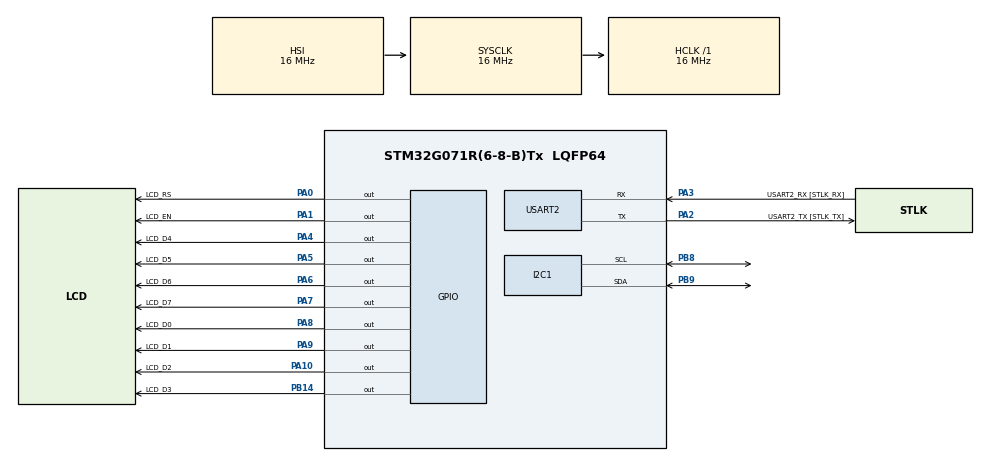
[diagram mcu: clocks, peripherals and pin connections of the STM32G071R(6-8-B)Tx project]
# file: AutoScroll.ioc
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Mcu.Family=STM32G0
Mcu.Name=STM32G071R(6-8-B)Tx
Mcu.Package=LQFP64
PA0.GPIO_Label=LCD_RS
PA0.Signal=GPIO_Output
PA1.GPIO_Label=LCD_EN
PA1.Signal=GPIO_Output
PA10.GPIO_Label=LCD_D2
PA10.Signal=GPIO_Output
PA13.GPIO_Label=TMS
PA13.Mode=Serial_Wire
PA13.Signal=SYS_SWDIO
PA14-BOOT0.GPIO_Label=TCK
PA14-BOOT0.Mode=Serial_Wire
PA14-BOOT0.Signal=SYS_SWCLK
PA2.GPIO_Label=USART2_TX [STLK_TX]
PA2.GPIO_PuPd=GPIO_PULLUP
PA2.Mode=Asynchronous
PA2.Signal=USART2_TX
PA3.GPIO_Label=USART2_RX [STLK_RX]
PA3.GPIO_PuPd=GPIO_PULLUP
PA3.Mode=Asynchronous
PA3.Signal=USART2_RX
PA4.GPIO_Label=LCD_D4
PA4.Signal=GPIO_Output
PA5.GPIO_Label=LCD_D5
PA5.GPIO_Speed=GPIO_SPEED_FREQ_HIGH
PA5.Signal=GPIO_Output
PA6.GPIO_Label=LCD_D6
PA6.Signal=GPIO_Output
PA7.GPIO_Label=LCD_D7
PA7.Signal=GPIO_Output
PA8.GPIO_Label=LCD_D0
PA8.Signal=GPIO_Output
PA9.GPIO_Label=LCD_D1
PA9.Signal=GPIO_Output
PB14.GPIO_Label=LCD_D3
PB14.Signal=GPIO_Output
PB8.Mode=I2C
PB8.Signal=I2C1_SCL
PB9.Mode=I2C
PB9.Signal=I2C1_SDA
PC13.Mode=SYS_WakeUp1
PC13.Signal=SYS_WKUP2
PC14-OSC32_IN\ (PC14).Mode=LSE-External-Oscillator
PC14-OSC32_IN\ (PC14).Signal=RCC_OSC32_IN
PC15-OSC32_OUT\ (PC15).Mode=LSE-External-Oscillator
PC15-OSC32_OUT\ (PC15).Signal=RCC_OSC32_OUT
PF0-OSC_IN\ (PF0).GPIO_Label=MCO
PF0-OSC_IN\ (PF0).Mode=HSE-External-Clock-Source
PF0-OSC_IN\ (PF0).Signal=RCC_OSC_IN
ProjectManager.HeapSize=0x200
ProjectManager.StackSize=0x400
ProjectManager.TargetToolchain=STM32CubeIDE
RCC.AHBFreq_Value=16000000
RCC.CortexFreq_Value=16000000
RCC.EXTERNAL_CLOCK_VALUE=12288000
RCC.HCLKFreq_Value=16000000
RCC.HSE_VALUE=8000000
RCC.HSI_VALUE=16000000
RCC.SYSCLKFreq_VALUE=16000000
RCC.VCOOutputFreq_Value=128000000
USART2.VirtualMode-Asynchronous=VM_ASYNC
board=NUCLEO-G071RB

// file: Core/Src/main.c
/* USER CODE BEGIN Header */
/**
  ******************************************************************************
  * @file           : main.c
  * @brief          : Main program body
  ******************************************************************************
  * @attention
  *
  * Copyright (c) 2023 STMicroelectronics.
  * All rights reserved.
  *
  * This software is licensed under terms that can be found in the LICENSE file
  * in the root directory of this software component.
  * If no LICENSE file comes with this software, it is provided AS-IS.
  *
  ******************************************************************************
  */
/* USER CODE END Header */
#include "main.h"

/* USER CODE BEGIN Includes */
#include "string.h"
#include "HD44780_LCD.h"
/* USER CODE END Includes */

I2C_HandleTypeDef hi2c1;

UART_HandleTypeDef huart2;

void SystemClock_Config(void);
static void MX_GPIO_Init(void);
static void MX_USART2_UART_Init(void);
static void MX_I2C1_Init(void);

int main(void)
{

  /* MCU Configuration--------------------------------------------------------*/

  /* Reset of all peripherals, Initializes the Flash interface and the Systick. */
  HAL_Init();

  /* Configure the system clock */
  SystemClock_Config();

  /* Initialize all configured peripherals */
  MX_GPIO_Init();
  MX_USART2_UART_Init();
  MX_I2C1_Init();
  /* USER CODE BEGIN 2 */

  // instantiate the LCD structure and create buffers to hold the messages that must be displayed
  HD44780_LCD_t lcd;
  const char msg[] = "Hello World!";
  const uint32_t msglen = strlen(msg);

  const char cursorFw[] = "Cursor Forward";
  const char cursorBk[] = "Cursor Backward";
  const char displayFw[] = "Display Forward";
  const char displayBk[] = "Display Backward";

  const uint32_t animateDelay = 750;

  // The LCD can be used in one of 4 modes, and the initialization of the structure depends upon which one is used
  // snippets are shown below for all 4 modes; un-comment the one to use
  // for more information, including wiring diagrams, refer to the README.md files

  // This initializes the structure to use the LCD in 4-bit mode (utilize half of the 8-bit bus)
  LCD_createHalfBus(&lcd, LCD_D4_GPIO_Port, LCD_D4_Pin, LCD_D5_GPIO_Port, LCD_D5_Pin, LCD_D6_GPIO_Port, LCD_D6_Pin, LCD_D7_GPIO_Port, LCD_D7_Pin, LCD_EN_GPIO_Port, LCD_EN_Pin, LCD_RS_GPIO_Port, LCD_RS_Pin);

  // This initializes the structure to use the LCD in 8-bit mode (utilize the complete 8-bit bus)
  // LCD_createFullBus(&lcd, LCD_D0_GPIO_Port, LCD_D0_Pin, LCD_D1_GPIO_Port, LCD_D1_Pin, LCD_D2_GPIO_Port, LCD_D2_Pin, LCD_D3_GPIO_Port, LCD_D3_Pin, LCD_D4_GPIO_Port, LCD_D4_Pin, LCD_D5_GPIO_Port, LCD_D5_Pin, LCD_D6_GPIO_Port, LCD_D6_Pin, LCD_D7_GPIO_Port, LCD_D7_Pin, LCD_EN_GPIO_Port, LCD_EN_Pin, LCD_RS_GPIO_Port, LCD_RS_Pin);

  // This initializes the structure to use the LCD in 8-bit mode along with a shift register
  // The D0 Pin is used as a Data Pin for the shift register
  // The D1 Pin is used as a Clock Pin for the shift register
  // The D2 Pin is used as a Latch Pin for the shift register
  // LCD_createShiftRegister(&lcd, LCD_D0_GPIO_Port, LCD_D0_Pin, LCD_D1_GPIO_Port, LCD_D1_Pin, LCD_D2_GPIO_Port, LCD_D2_Pin, LCD_EN_GPIO_Port, LCD_EN_Pin, LCD_RS_GPIO_Port, LCD_RS_Pin);

  // This initializes the structure to use the LCD in 4-bit mode along with a PC8574 I2C IO Expander
  // LCD_createI2C(&lcd, &hi2c1);

  // Initialize the LCD hardware based on the settings provided to the structure
  LCD_init(&lcd);

  // print "Hello World!" to the LCD (the cursor starts at the top-left, i.e. position 0, 0)
  LCD_sendBuffer(&lcd, (uint8_t *)msg, strlen(msg));

  /* USER CODE END 2 */

  /* Infinite loop */
  /* USER CODE BEGIN WHILE */
  while (1)
  {
	  for (uint32_t scrollMode = 0; scrollMode < 4; ++scrollMode) {

		  // clear the cursor and set the cursor to the home position (top-left)
		  // the clear instruction takes some time to execute, until which further instructions will cause undefined results
		  LCD_clearDisplay(&lcd);
		  HAL_Delay(2);
		  LCD_setCursorHome(&lcd);

		  // print the current scroll mode on the first line and set it
		  LCD_setCursorAutoInc(&lcd);
		  switch(scrollMode) {
		  case 0:
			  // cursor moves forward each time a character gets printed
			  LCD_sendBuffer(&lcd, (uint8_t *)cursorFw, strlen(cursorFw));
			  LCD_setCursorAutoInc(&lcd);
			  LCD_setCursorPos(&lcd, 1, 0);
			  break;
		  case 1:
			  // cursors moves backward each time a character gets printed
			  LCD_sendBuffer(&lcd, (uint8_t *)cursorBk, strlen(cursorBk));
			  LCD_setCursorAutoDec(&lcd);
			  LCD_setCursorPos(&lcd, 1, msglen - 1);
			  break;
		  case 2:
			  // display moves backward each time a character gets printed
			  LCD_sendBuffer(&lcd, (uint8_t *)displayBk, strlen(displayBk));
			  LCD_setDisplayAutoDec(&lcd);
			  LCD_setCursorPos(&lcd, 1, msglen);
			  break;
		  case 3:
			  // display moves forward each time a character gets printed
			  LCD_sendBuffer(&lcd, (uint8_t *)displayFw, strlen(displayFw));
			  LCD_setDisplayAutoInc(&lcd);
			  LCD_setCursorPos(&lcd, 1, LCD_LINE_SIZE - 1);
			  break;
		  }

		  // print the message one character at a time to the second line of the display
		  for (uint32_t i = 0; i < msglen; ++i) {
			  LCD_sendData(&lcd, (uint8_t)	msg[i]);
			  HAL_Delay(animateDelay);
		  }

	  }
    /* USER CODE END WHILE */

  }
}

void SystemClock_Config(void)
{
  RCC_OscInitTypeDef RCC_OscInitStruct = {0};
  RCC_ClkInitTypeDef RCC_ClkInitStruct = {0};

  /** Configure the main internal regulator output voltage
  */
  HAL_PWREx_ControlVoltageScaling(PWR_REGULATOR_VOLTAGE_SCALE1);

  /** Initializes the RCC Oscillators according to the specified parameters
  * in the RCC_OscInitTypeDef structure.
  */
  RCC_OscInitStruct.OscillatorType = RCC_OSCILLATORTYPE_HSI;
  RCC_OscInitStruct.HSIState = RCC_HSI_ON;
  RCC_OscInitStruct.HSIDiv = RCC_HSI_DIV1;
  RCC_OscInitStruct.HSICalibrationValue = RCC_HSICALIBRATION_DEFAULT;
  RCC_OscInitStruct.PLL.PLLState = RCC_PLL_NONE;
  if (HAL_RCC_OscConfig(&RCC_OscInitStruct) != HAL_OK)
  {
    Error_Handler();
  }

  /** Initializes the CPU, AHB and APB buses clocks
  */
  RCC_ClkInitStruct.ClockType = RCC_CLOCKTYPE_HCLK|RCC_CLOCKTYPE_SYSCLK
                              |RCC_CLOCKTYPE_PCLK1;
  RCC_ClkInitStruct.SYSCLKSource = RCC_SYSCLKSOURCE_HSI;
  RCC_ClkInitStruct.AHBCLKDivider = RCC_SYSCLK_DIV1;
  RCC_ClkInitStruct.APB1CLKDivider = RCC_HCLK_DIV1;

  if (HAL_RCC_ClockConfig(&RCC_ClkInitStruct, FLASH_LATENCY_0) != HAL_OK)
  {
    Error_Handler();
  }
}

static void MX_I2C1_Init(void)
{

  hi2c1.Instance = I2C1;
  hi2c1.Init.Timing = 0x00303D5B;
  hi2c1.Init.OwnAddress1 = 0;
  hi2c1.Init.AddressingMode = I2C_ADDRESSINGMODE_7BIT;
  hi2c1.Init.DualAddressMode = I2C_DUALADDRESS_DISABLE;
  hi2c1.Init.OwnAddress2 = 0;
  hi2c1.Init.OwnAddress2Masks = I2C_OA2_NOMASK;
  hi2c1.Init.GeneralCallMode = I2C_GENERALCALL_DISABLE;
  hi2c1.Init.NoStretchMode = I2C_NOSTRETCH_DISABLE;
  if (HAL_I2C_Init(&hi2c1) != HAL_OK)
  {
    Error_Handler();
  }

  /** Configure Analogue filter
  */
  if (HAL_I2CEx_ConfigAnalogFilter(&hi2c1, I2C_ANALOGFILTER_ENABLE) != HAL_OK)
  {
    Error_Handler();
  }

  /** Configure Digital filter
  */
  if (HAL_I2CEx_ConfigDigitalFilter(&hi2c1, 0) != HAL_OK)
  {
    Error_Handler();
  }

}

static void MX_USART2_UART_Init(void)
{

  huart2.Instance = USART2;
  huart2.Init.BaudRate = 115200;
  huart2.Init.WordLength = UART_WORDLENGTH_8B;
  huart2.Init.StopBits = UART_STOPBITS_1;
  huart2.Init.Parity = UART_PARITY_NONE;
  huart2.Init.Mode = UART_MODE_TX_RX;
  huart2.Init.HwFlowCtl = UART_HWCONTROL_NONE;
  huart2.Init.OverSampling = UART_OVERSAMPLING_16;
  huart2.Init.OneBitSampling = UART_ONE_BIT_SAMPLE_DISABLE;
  huart2.Init.ClockPrescaler = UART_PRESCALER_DIV1;
  huart2.AdvancedInit.AdvFeatureInit = UART_ADVFEATURE_NO_INIT;
  if (HAL_UART_Init(&huart2) != HAL_OK)
  {
    Error_Handler();
  }
  if (HAL_UARTEx_SetTxFifoThreshold(&huart2, UART_TXFIFO_THRESHOLD_1_8) != HAL_OK)
  {
    Error_Handler();
  }
  if (HAL_UARTEx_SetRxFifoThreshold(&huart2, UART_RXFIFO_THRESHOLD_1_8) != HAL_OK)
  {
    Error_Handler();
  }
  if (HAL_UARTEx_DisableFifoMode(&huart2) != HAL_OK)
  {
    Error_Handler();
  }

}

static void MX_GPIO_Init(void)
{
  GPIO_InitTypeDef GPIO_InitStruct = {0};

  /* GPIO Ports Clock Enable */
  __HAL_RCC_GPIOC_CLK_ENABLE();
  __HAL_RCC_GPIOF_CLK_ENABLE();
  __HAL_RCC_GPIOA_CLK_ENABLE();
  __HAL_RCC_GPIOB_CLK_ENABLE();

  /*Configure GPIO pin Output Level */
  HAL_GPIO_WritePin(GPIOA, LCD_RS_Pin|LCD_EN_Pin|LCD_D4_Pin|LCD_D5_Pin
                          |LCD_D6_Pin|LCD_D7_Pin|LCD_D0_Pin|LCD_D1_Pin
                          |LCD_D2_Pin, GPIO_PIN_RESET);

  /*Configure GPIO pin Output Level */
  HAL_GPIO_WritePin(LCD_D3_GPIO_Port, LCD_D3_Pin, GPIO_PIN_RESET);

  /*Configure GPIO pins : LCD_RS_Pin LCD_EN_Pin LCD_D4_Pin LCD_D6_Pin
                           LCD_D7_Pin LCD_D0_Pin LCD_D1_Pin LCD_D2_Pin */
  GPIO_InitStruct.Pin = LCD_RS_Pin|LCD_EN_Pin|LCD_D4_Pin|LCD_D6_Pin
                          |LCD_D7_Pin|LCD_D0_Pin|LCD_D1_Pin|LCD_D2_Pin;
  GPIO_InitStruct.Mode = GPIO_MODE_OUTPUT_PP;
  GPIO_InitStruct.Pull = GPIO_NOPULL;
  GPIO_InitStruct.Speed = GPIO_SPEED_FREQ_LOW;
  HAL_GPIO_Init(GPIOA, &GPIO_InitStruct);

  /*Configure GPIO pin : LCD_D5_Pin */
  GPIO_InitStruct.Pin = LCD_D5_Pin;
  GPIO_InitStruct.Mode = GPIO_MODE_OUTPUT_PP;
  GPIO_InitStruct.Pull = GPIO_NOPULL;
  GPIO_InitStruct.Speed = GPIO_SPEED_FREQ_HIGH;
  HAL_GPIO_Init(LCD_D5_GPIO_Port, &GPIO_InitStruct);

  /*Configure GPIO pin : LCD_D3_Pin */
  GPIO_InitStruct.Pin = LCD_D3_Pin;
  GPIO_InitStruct.Mode = GPIO_MODE_OUTPUT_PP;
  GPIO_InitStruct.Pull = GPIO_NOPULL;
  GPIO_InitStruct.Speed = GPIO_SPEED_FREQ_LOW;
  HAL_GPIO_Init(LCD_D3_GPIO_Port, &GPIO_InitStruct);

}

void Error_Handler(void)
{
  __disable_irq();
  while (1)
  {
  }
}
